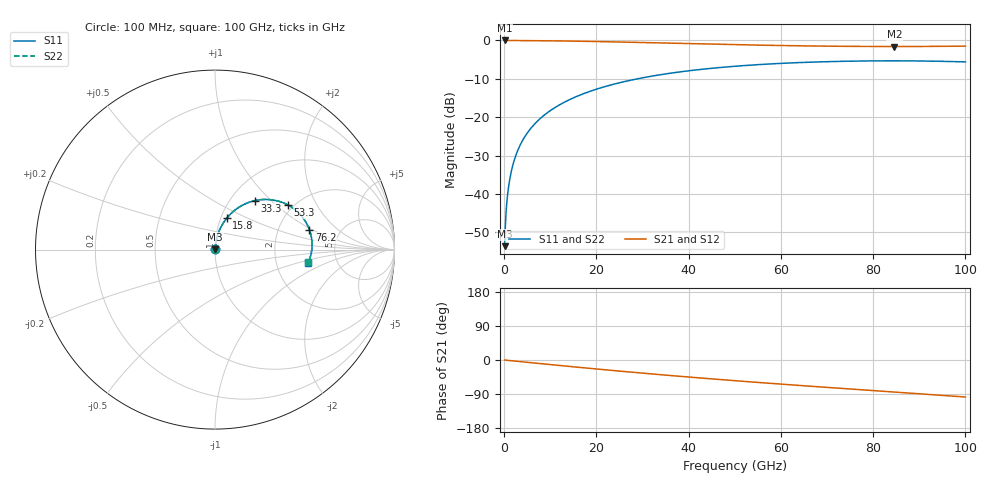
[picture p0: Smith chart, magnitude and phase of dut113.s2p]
! Touchstone file exported from HFSS 2026.1.0
!  File:  C:/ffzhzh/LocalFiles/Ansys_Project_Files/temp_train_RDL_113_1783499327_31944.aedt
!  Generated:  04:29:50 PM Jul  8, 2026
!  Design:  RDL
!  Project:  temp_train_RDL_113_1783499327_31944
! Variables:
!  h_bsmrdl = 2um
!  h_ox = 20um
!  h_rdl = 5um
!  h_sub = 80um
!  h_tmrdl = 2.89um
!  h_tsv = 80um
!  h_via = 3um
!  l_bsmrdl = 300um
!  l_sub = 700.8um
!  l_tmrdl = 300.8um
!  m_sub = 200um
!  pitch = 59.28um
!  r_tsv = 6um
!  s_tmrdl = 10um
!  w_bsmrdl = 18um
!  w_sub = 500um
!  w_tmrdl = 29.35um
!  x_tsv_center1 = 315.475um
!  x_tsv_center2 = 633.475um
!  x_tsv_center3 = 963.625um
!  x_tsv_center4 = 1281.625um
!  x_tsv_center5 = 1611.775um
!  x_tsv_center6 = 1929.775um
# GHz S MA R 50.000000
! Terminal data exported
! Port[1] = TM_RDL1_1_T1
! Port[2] = TM_RDL1_1_T2
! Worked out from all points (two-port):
!   1000 points, 100 MHz to 100 GHz, reference 50 ohm
!   highest |S21| = -0.01 dB at 100 MHz (marker M1); lowest = -1.6 dB at 84.6 GHz (marker M2)
!   |S21| within 3 dB of the highest: start of sweep to end of sweep
!   lowest |S11| = -53.6 dB at 100 MHz (marker M3), VSWR 1.00, Z = 50.2 + j0.139 ohm
!   |S11| at or under -10 dB: start of sweep to 28.92 GHz
!   |S22| runs from -53.6 to -5.3 dB; largest |S21 - S12| = 6.8e-15
!   S11 on the Smith chart (normalised r, x): 100 MHz: 1.00, +0.00; 15.8 GHz: 1.07, +0.39; 33.3 GHz: 1.29, +0.81; 53.3 GHz: 1.87, +1.20; 76.2 GHz: 3.01, +0.93; 100 GHz: 3.06, -0.63
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0.1  0.002085 41.5  0.9984 -0.1  0.9984 -0.1  0.002085 41.5
! Gamma 0 0 0 0
! Port Impedance 50 0 50 0
0.8  0.0104 77.9  0.9979 -1.0  0.9979 -1.0  0.0104 77.9
1.1  0.01406 80.2  0.9978 -1.4  0.9978 -1.4  0.01406 80.2
1.4  0.01774 81.4  0.9977 -1.7  0.9977 -1.7  0.01774 81.4
1.9  0.0239 82.4  0.9975 -2.3  0.9975 -2.3  0.0239 82.4
2.4  0.03007 82.8  0.9973 -2.9  0.9973 -2.9  0.03007 82.8
3.8  0.04732 82.3  0.9964 -4.7  0.9964 -4.7  0.04732 82.3
5.8  0.0717 80.6  0.9945 -7.1  0.9945 -7.1  0.0717 80.6
8.4  0.1028 77.8  0.9911 -10.2  0.9911 -10.2  0.1028 77.8
11.7  0.1412 74.1  0.9856 -14.1  0.9856 -14.1  0.1412 74.1
15.8  0.1869 69.5  0.9772 -18.9  0.9772 -18.9  0.1869 69.5
16.8  0.1977 68.4  0.9749 -20.1  0.9749 -20.1  0.1977 68.4
24.2  0.273 60.3  0.9557 -28.4  0.9557 -28.4  0.273 60.3
33.3  0.3527 50.7  0.9287 -38.1  0.9287 -38.1  0.3527 50.8
33.4  0.3535 50.6  0.9284 -38.2  0.9284 -38.2  0.3535 50.7
50.1  0.4608 34.4  0.88 -54.7  0.88 -54.7  0.4608 34.6
53.3  0.4759 31.5  0.872 -57.6  0.872 -57.6  0.4759 31.7
66.7  0.5213 19.7  0.8457 -69.5  0.8457 -69.5  0.5213 20.0
76.2  0.5377 11.8  0.8354 -77.5  0.8354 -77.5  0.5377 12.0
83.4  0.5419 5.8  0.8325 -83.6  0.8325 -83.6  0.5419 6.1
84.6  0.542 4.8  0.8325 -84.6  0.8325 -84.6  0.5419 5.1
100  0.5247 -8.1  0.8424 -97.7  0.8424 -97.7  0.5247 -7.7
